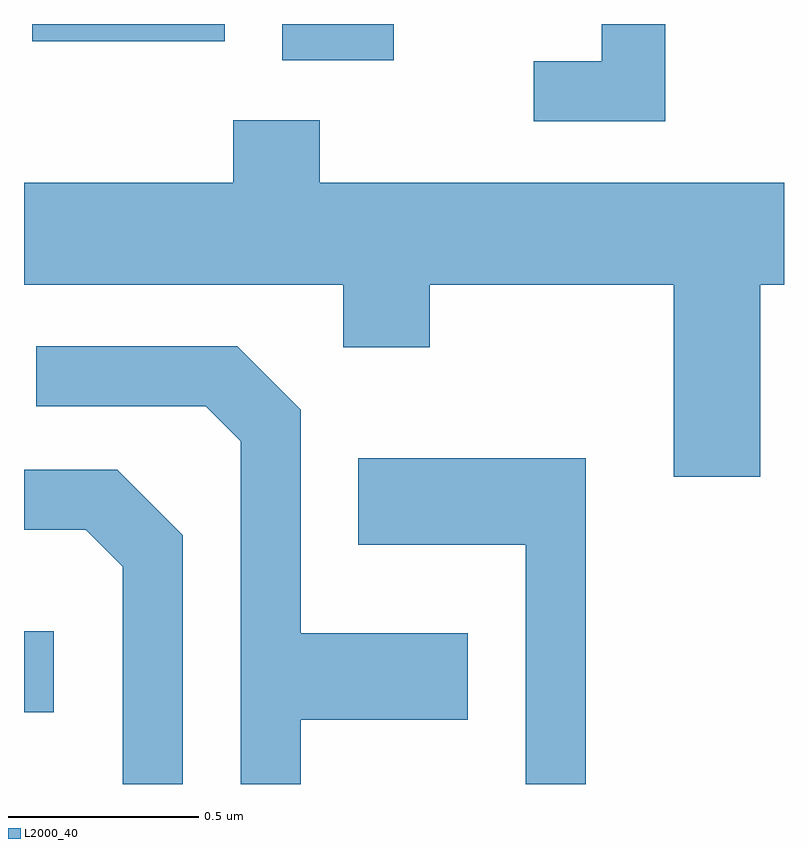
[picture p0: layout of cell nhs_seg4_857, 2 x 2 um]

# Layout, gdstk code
import gdstk
lib = gdstk.Library(unit=1e-6, precision=1e-09)
def R(c, l, rs):  # rectangles x0, y0, x1, y1
    for r in rs: c.add(gdstk.rectangle(r[:2], r[2:], *l))
def P(c, l, *ps):  # polygons
    for p in ps: c.add(gdstk.Polygon(p, *l))
L2000_40 = (2000, 40)

nhs_seg4_857 = lib.new_cell('nhs_seg4_857')
R(nhs_seg4_857, L2000_40, [(191.611,1289.171,191.689,1289.384), (192.291,1290.886,192.584,1290.982), (191.633,1290.936,192.139,1290.982)])
P(nhs_seg4_857, L2000_40, [(193.299,1290.982),(193.131,1290.982),(193.131,1290.884),(192.953,1290.884),(192.953,1290.726),(193.299,1290.726)],
  [(193.549,1290.296),(193.611,1290.296),(193.611,1290.564),(192.389,1290.564),(192.389,1290.729),(192.161,1290.729),(192.161,1290.564),(191.611,1290.564),(191.611,1290.296),(192.451,1290.296),(192.451,1290.131),(192.679,1290.131),(192.679,1290.296),(193.321,1290.296),(193.321,1289.791),(193.549,1289.791)],
  [(192.339,1289.151),(192.779,1289.151),(192.779,1289.379),(192.339,1289.379),(192.339,1289.967),(192.172,1290.134),(191.643,1290.134),(191.643,1289.976),(192.089,1289.976),(192.181,1289.884),(192.181,1288.982),(192.339,1288.982)],
  [(193.089,1289.839),(192.491,1289.839),(192.491,1289.611),(192.931,1289.611),(192.931,1288.982),(193.089,1288.982)],
  [(192.029,1289.637),(191.857,1289.809),(191.611,1289.809),(191.611,1289.651),(191.774,1289.651),(191.871,1289.554),(191.871,1288.982),(192.029,1288.982)])

lib.write_gds('nhs_seg4_857.gds')
